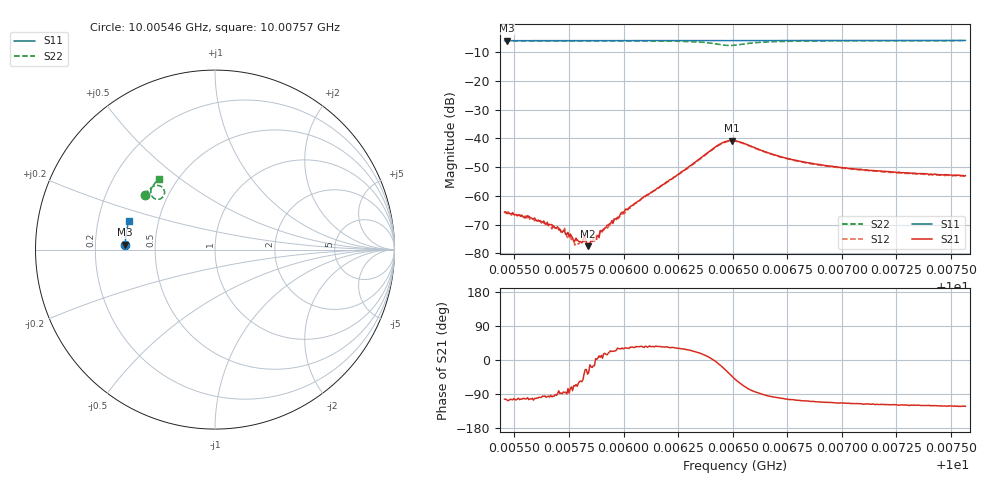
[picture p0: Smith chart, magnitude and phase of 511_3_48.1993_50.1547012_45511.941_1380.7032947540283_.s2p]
#  HZ  S  RI  R  50.00
! Rohde & Schwarz Vector Network Analyzer
! Rohde-Schwarz,ZNB20-2Port,1311601062101988,3.16
! Created: UTC 3/20/2024, 11:58:59 AM
! freq[Hz]  re:S11  im:S11  re:S21  im:S21  re:S12  im:S12  re:S22  im:S22
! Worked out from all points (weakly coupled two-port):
!   401 points, 10.00546 GHz to 10.00757 GHz, reference 50 ohm
!   highest |S21| = -40.77 dB at 10.00649 GHz (marker M1); lowest = -77.5 dB at 10.00583 GHz (marker M2)
!   lowest |S11| = -6.0 dB at 10.00547 GHz (marker M3), VSWR 3.01, Z = 16.6 + j1.2 ohm
!   |S11| at or under -10 dB: nowhere
!   |S22| runs from -7.7 to -6.0 dB; largest |S21 - S12| = 0.00055
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1.0005455e10  -0.5004 0.0264  -0.00012 -0.00051  -0.000118 -0.000484  -0.3924 0.3038
1.0005466e10  -0.5003 0.0269  -0.000132 -0.000474  -8.77e-05 -0.00049  -0.392 0.3044
1.0005545e10  -0.5003 0.0323  -8.48e-05 -0.000409  -7.78e-05 -0.000427  -0.3887 0.3092
1.0005661e10  -0.4999 0.0397  -4.3e-05 -0.000314  3.61e-06 -0.000316  -0.3834 0.3159
1.0005724e10  -0.4996 0.0439  2.36e-05 -0.000245  1.2e-05 -0.000241  -0.3802 0.32
1.0005751e10  -0.4996 0.0456  7.47e-06 -0.000192  5.78e-05 -0.000179  -0.379 0.3214
1.0005782e10  -0.4994 0.0475  7.84e-05 -0.000165  8.82e-05 -0.000158  -0.3773 0.3234
1.0005809e10  -0.4993 0.0492  8.21e-05 -0.000127  0.000111 -0.000141  -0.3759 0.3251
1.0005819e10  -0.4993 0.05  0.000154 -0.000114  0.000111 -0.000113  -0.3754 0.3259
1.0005835e10  -0.4992 0.0511  0.000105 -8.09e-05  0.000132 -6.89e-05  -0.3745 0.3267
1.0005846e10  -0.4991 0.0517  0.000141 -3.18e-05  0.000135 -6.64e-05  -0.3739 0.3274
1.0005877e10  -0.499 0.0537  0.000191 6.17e-06  0.000169 4.24e-05  -0.3721 0.3295
1.0005904e10  -0.4987 0.0555  0.000254 2.06e-05  0.000234 5.01e-05  -0.3704 0.3313
1.0005999e10  -0.4983 0.0616  0.000448 0.000252  0.000421 0.000245  -0.3642 0.3374
1.0006162e10  -0.4972 0.0722  0.00114 0.000808  0.00108 0.000874  -0.3494 0.3492
1.0006426e10  -0.4943 0.0892  0.00729 -0.000745  0.00715 -0.000338  -0.284 0.3334
1.0006495e10  -0.4937 0.093  0.00679 -0.00613  0.00698 -0.00562  -0.2974 0.2869
1.000651e10  -0.4935 0.0938  0.00576 -0.00699  0.00602 -0.00658  -0.3083 0.2816
1.0006706e10  -0.492 0.1065  -0.000803 -0.00493  -0.000574 -0.00483  -0.3579 0.3251
1.0006864e10  -0.4902 0.1166  -0.00122 -0.00347  -0.00102 -0.00341  -0.3511 0.3471
1.0007218e10  -0.4852 0.1389  -0.00125 -0.00232  -0.00109 -0.00231  -0.3321 0.3733
1.0007566e10  -0.4792 0.1606  -0.00119 -0.0019  -0.00107 -0.00193  -0.3139 0.3918
